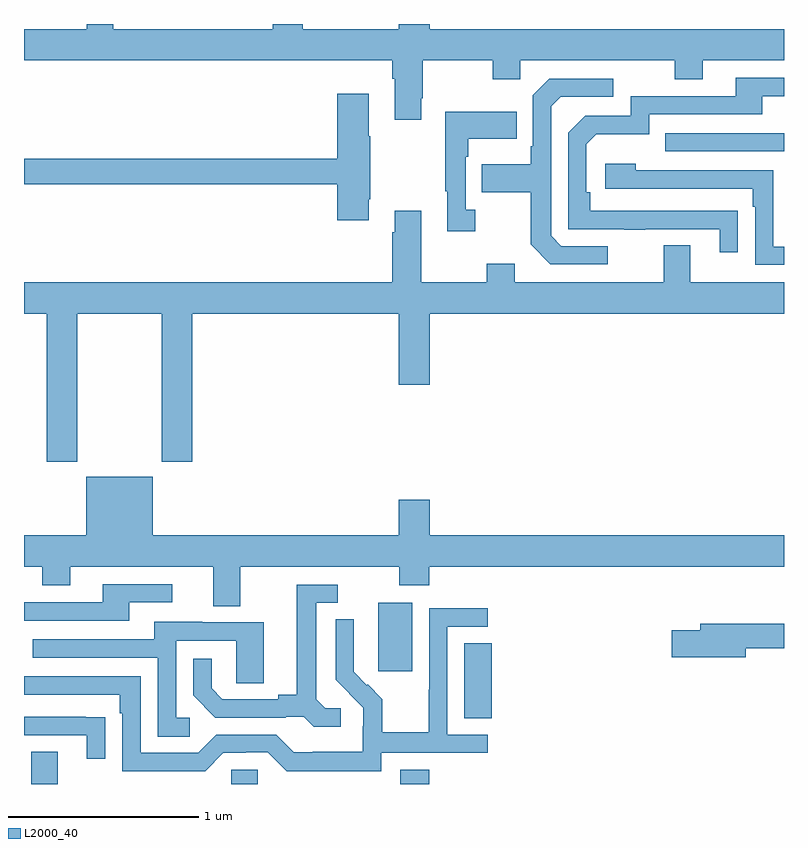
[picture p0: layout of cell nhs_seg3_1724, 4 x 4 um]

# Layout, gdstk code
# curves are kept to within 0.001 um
import gdstk
lib = gdstk.Library(unit=1e-6, precision=1e-09)
def R(c, l, rs):  # rectangles x0, y0, x1, y1
    for r in rs: c.add(gdstk.rectangle(r[:2], r[2:], *l))
def P(c, l, *ps):  # polygons
    for p in ps: c.add(gdstk.Polygon(p, *l))
L2000_40 = (2000, 40)

nhs_seg3_1724 = lib.new_cell('nhs_seg3_1724')
R(nhs_seg3_1724, L2000_40, [(199.037,738.4,199.177,738.571), (200.091,738.4,200.229,738.474), (200.981,738.4,201.134,738.475), (201.317,738.745,201.461,739.142), (200.864,738.993,201.043,739.354), (202.375,741.729,203,741.825)])
P(nhs_seg3_1724, L2000_40, [(201.091,742.009),(201.099,742.009),(201.099,742.208),(201.466,742.208),(201.466,742.109),(201.612,742.109),(201.612,742.208),(202.426,742.208),(202.426,742.109),(202.573,742.109),(202.573,742.208),(203,742.208),(203,742.372),(201.136,742.372),(201.136,742.4),(200.972,742.4),(200.972,742.372),(200.468,742.372),(200.468,742.4),(200.308,742.4),(200.308,742.372),(199.471,742.372),(199.471,742.4),(199.331,742.4),(199.331,742.372),(199,742.372),(199,742.208),(200.939,742.208),(200.939,742.112),(200.951,742.112),(200.951,741.897),(201.091,741.897)],
  [(202.757,741.416),(201.98,741.417),(201.98,741.514),(201.96,741.514),(201.96,741.768),(202.013,741.821),(202.29,741.821),(202.29,741.924),(202.885,741.924),(202.885,742.02),(203,742.02),(203,742.116),(202.745,742.116),(202.745,742.02),(202.194,742.02),(202.194,741.918),(201.954,741.918),(201.864,741.828),(201.864,741.321),(202.159,741.321),(202.159,741.316),(202.271,741.316),(202.271,741.321),(202.661,741.321),(202.661,741.198),(202.757,741.198)],
  [(202.072,741.231),(201.828,741.231),(201.774,741.285),(201.774,741.966),(201.825,742.017),(202.102,742.017),(202.102,742.113),(201.765,742.113),(201.678,742.026),(201.678,741.757),(201.666,741.757),(201.666,741.661),(201.409,741.661),(201.409,741.514),(201.666,741.514),(201.666,741.241),(201.771,741.135),(202.072,741.135)],
  [(200.815,741.478),(200.823,741.478),(200.823,741.809),(200.815,741.809),(200.815,742.033),(200.648,742.033),(200.648,741.692),(199,741.692),(199,741.556),(200.648,741.556),(200.648,741.366),(200.815,741.366)],
  [(201.376,741.422),(201.324,741.422),(201.324,741.701),(201.337,741.701),(201.337,741.797),(201.593,741.797),(201.593,741.937),(201.216,741.937),(201.216,741.521),(201.227,741.521),(201.227,741.309),(201.376,741.309)],
  [(203,741.228),(202.944,741.228),(202.944,741.63),(202.22,741.63),(202.22,741.664),(202.059,741.664),(202.059,741.534),(202.835,741.534),(202.835,741.437),(202.848,741.437),(202.848,741.132),(203,741.132)],
  [(199.281,740.876),(199.726,740.876),(199.726,740.097),(199.886,740.097),(199.886,740.876),(200.972,740.876),(200.972,740.502),(201.136,740.502),(201.136,740.876),(203,740.876),(203,741.04),(202.507,741.04),(202.507,741.235),(202.367,741.235),(202.367,741.04),(201.583,741.04),(201.583,741.139),(201.436,741.139),(201.436,741.04),(201.091,741.04),(201.091,741.418),(200.951,741.418),(200.951,741.305),(200.939,741.305),(200.939,741.04),(199,741.04),(199,740.876),(199.121,740.876),(199.121,740.097),(199.281,740.097)],
  [(200.137,739.544),(200.974,739.544),(200.974,739.445),(201.134,739.445),(201.134,739.544),(203,739.544),(203,739.708),(201.136,739.708),(201.136,739.897),(200.972,739.897),(200.972,739.708),(199.678,739.708),(199.678,740.017),(199.328,740.017),(199.328,739.708),(199,739.708),(199,739.544),(199.096,739.544),(199.096,739.445),(199.243,739.445),(199.243,739.544),(199.997,739.544),(199.997,739.336),(200.137,739.336)],
  [(199.555,739.356),(199.78,739.356),(199.78,739.452),(199.415,739.452),(199.415,739.356),(199,739.356),(199,739.26),(199.555,739.26)],
  [(200.668,738.798),(200.586,738.798),(200.539,738.845),(200.539,739.353),(200.65,739.353),(200.65,739.449),(200.435,739.449),(200.435,738.869),(200.339,738.869),(200.339,738.846),(200.044,738.846),(199.987,738.903),(199.987,739.06),(199.89,739.06),(199.89,738.866),(200.006,738.75),(200.378,738.75),(200.378,738.753),(200.472,738.753),(200.524,738.701),(200.668,738.701)],
  [(200.88,738.564),(201.442,738.564),(201.442,738.66),(201.228,738.66),(201.228,739.227),(201.442,739.227),(201.442,739.326),(201.132,739.326),(201.132,738.896),(201.13,738.896),(201.13,738.673),(200.885,738.673),(200.885,738.847),(200.808,738.924),(200.805,738.921),(200.735,738.992),(200.736,739.268),(200.64,739.268),(200.64,738.95),(200.786,738.802),(200.786,738.705),(200.784,738.705),(200.784,738.571),(200.521,738.571),(200.521,738.567),(200.421,738.567),(200.328,738.66),(200.013,738.66),(199.917,738.564),(199.614,738.564),(199.614,738.966),(199,738.966),(199,738.87),(199.505,738.87),(199.505,738.773),(199.518,738.773),(199.518,738.468),(199.953,738.468),(200.049,738.564),(200.168,738.564),(200.168,738.567),(200.283,738.567),(200.383,738.467),(200.88,738.467)],
  [(199.873,738.75),(199.8,738.75),(199.8,739.155),(200.118,739.155),(200.118,738.931),(200.263,738.931),(200.263,739.251),(199.939,739.251),(199.939,739.255),(199.685,739.255),(199.685,739.161),(199.045,739.161),(199.045,739.065),(199.704,739.065),(199.704,738.649),(199.873,738.649)],
  [(202.798,739.114),(203,739.114),(203,739.243),(202.559,739.243),(202.559,739.209),(202.41,739.209),(202.41,739.067),(202.798,739.067)],
  [(199.427,738.752),(199.325,738.752),(199.325,738.753),(199,738.753),(199,738.657),(199.331,738.657),(199.331,738.534),(199.427,738.534)])

lib.write_gds('nhs_seg3_1724.gds')
